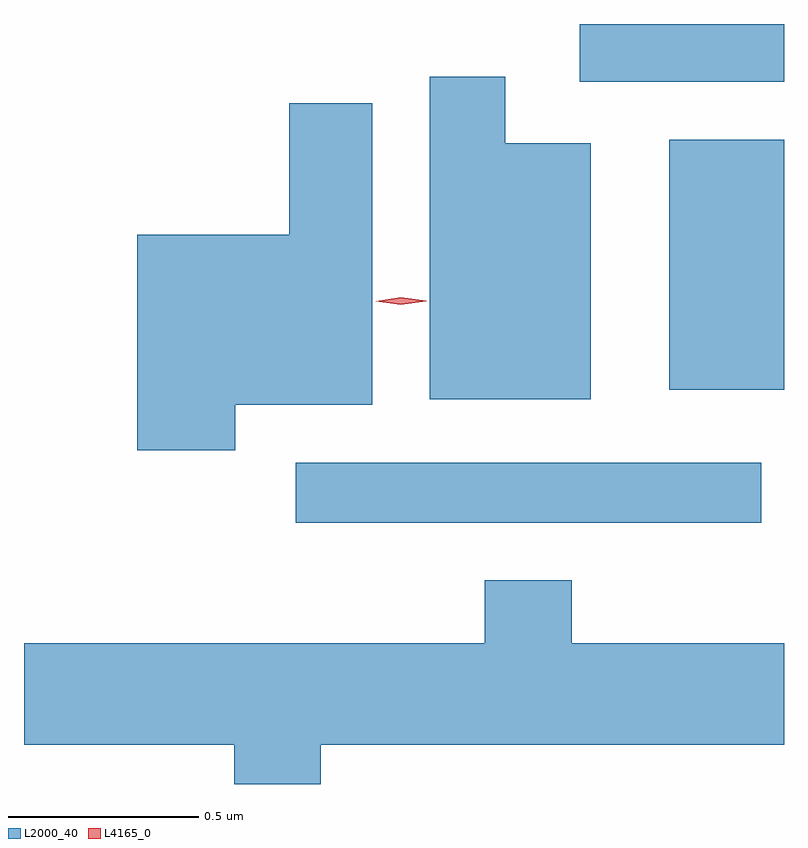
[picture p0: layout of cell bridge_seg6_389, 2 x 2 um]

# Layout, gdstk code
import gdstk
lib = gdstk.Library(unit=1e-6, precision=1e-09)
def R(c, l, rs):  # rectangles x0, y0, x1, y1
    for r in rs: c.add(gdstk.rectangle(r[:2], r[2:], *l))
def P(c, l, *ps):  # polygons
    for p in ps: c.add(gdstk.Polygon(p, *l))
L2000_40 = (2000, 40)
L4165_0 = (4165, 0)

bridge_seg6_389 = lib.new_cell('bridge_seg6_389')
R(bridge_seg6_389, L2000_40, [(1375.633,1557.281,1376.858,1557.439), (1376.616,1557.631,1376.918,1558.289), (1376.381,1558.441,1376.918,1558.593)])
P(bridge_seg6_389, L2000_40, [(1376.409,1558.279),(1376.184,1558.279),(1376.184,1558.454),(1375.986,1558.454),(1375.986,1557.606),(1376.409,1557.606)],
  [(1375.474,1557.591),(1375.834,1557.591),(1375.834,1558.384),(1375.616,1558.384),(1375.616,1558.039),(1375.216,1558.039),(1375.216,1557.471),(1375.474,1557.471)],
  [(1375.699,1556.696),(1376.918,1556.696),(1376.918,1556.964),(1376.359,1556.964),(1376.359,1557.129),(1376.131,1557.129),(1376.131,1556.964),(1374.918,1556.964),(1374.918,1556.696),(1375.471,1556.696),(1375.471,1556.593),(1375.699,1556.593)])
P(bridge_seg6_389, L4165_0, [(1375.91,1557.854),(1375.844,1557.863),(1375.843,1557.864),(1375.844,1557.864),(1375.91,1557.874),(1375.976,1557.865),(1375.976,1557.864),(1375.976,1557.864)])

lib.write_gds('bridge_seg6_389.gds')
